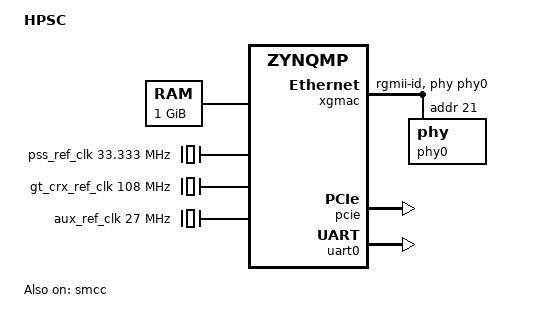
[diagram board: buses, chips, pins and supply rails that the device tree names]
/*
 * dts file for Xilinx ZynqMP ZCU102 RevA
 *
 * (C) Copyright 2015, Xilinx, Inc.
 *
 * Michal Simek <michal.simek@xilinx.com>
 *
 * SPDX-License-Identifier:	GPL-2.0+
 */

/dts-v1/;

#include <dt-bindings/phy/phy.h>

/ {
	model = "HPSC";
	compatible = "xlnx,zynqmp-zcu102-revA", "xlnx,zynqmp-zcu102", "xlnx,zynqmp";
	#address-cells = <2>;
	#size-cells = <2>;

	aliases {
		ethernet0 = &xgmac;
		serial0 = &uart0;
		serial1 = &dcc;
	};

	chosen {
		bootargs = "earlycon";
		stdout-path = "serial0:115200n8";
	};

	memory@0 {
		device_type = "memory";
		reg = 
		        /* NOTE: when changing this, remember to also change in Qemu DT */
			<0x00 0x80000000 0x00 0x40000000>; /* DDR Low 2G */
		     /* <0x01 0x00000000 0x00 0x80000000>; */ /* TODO: DDR High 2G */
	             /* <0x02 0x00000000 0x01 0x00000000>; */ /* TODO: DDR High 4G */
	             /* <0x08 0x00000000 0x08 0x00000000>; */ /* TODO: DDR High 32G */
	             /* <0x10 0x00000000 0x10 0x00000000>; */ /* TODO: DDR High 64G */
	};

	cpus {
		#address-cells = <1>;
		#size-cells = <0>;

		cpu0: cpu@0 {
			compatible = "arm,cortex-a53", "arm,armv8";
			device_type = "cpu";
			enable-method = "psci";
			operating-points-v2 = <&cpu_opp_table>;
			reg = <0x0>;
			cpu-idle-states = <&CPU_SLEEP_0>;
	                clocks = <&clkc 10>;
		};

		cpu1: cpu@1 {
			compatible = "arm,cortex-a53", "arm,armv8";
			device_type = "cpu";
			enable-method = "psci";
			reg = <0x1>;
			operating-points-v2 = <&cpu_opp_table>;
			cpu-idle-states = <&CPU_SLEEP_0>;
		};

		cpu2: cpu@2 {
			compatible = "arm,cortex-a53", "arm,armv8";
			device_type = "cpu";
			enable-method = "psci";
			reg = <0x2>;
			operating-points-v2 = <&cpu_opp_table>;
			cpu-idle-states = <&CPU_SLEEP_0>;
		};

		cpu3: cpu@3 {
			compatible = "arm,cortex-a53", "arm,armv8";
			device_type = "cpu";
			enable-method = "psci";
			reg = <0x3>;
			operating-points-v2 = <&cpu_opp_table>;
			cpu-idle-states = <&CPU_SLEEP_0>;
		};

		idle-states {
			entry-method = "arm,psci";

			CPU_SLEEP_0: cpu-sleep-0 {
				compatible = "arm,idle-state";
				arm,psci-suspend-param = <0x40000000>;
				local-timer-stop;
				entry-latency-us = <300>;
				exit-latency-us = <600>;
				min-residency-us = <10000>;
			};
		};
	};

	cpu_opp_table: cpu_opp_table {
		compatible = "operating-points-v2";
		opp-shared;
		opp00 {
			opp-hz = /bits/ 64 <1199999988>;
			opp-microvolt = <1000000>;
			clock-latency-ns = <500000>;
		};
		opp01 {
			opp-hz = /bits/ 64 <599999994>;
			opp-microvolt = <1000000>;
			clock-latency-ns = <500000>;
		};
		opp02 {
			opp-hz = /bits/ 64 <399999996>;
			opp-microvolt = <1000000>;
			clock-latency-ns = <500000>;
		};
		opp03 {
			opp-hz = /bits/ 64 <299999997>;
			opp-microvolt = <1000000>;
			clock-latency-ns = <500000>;
		};
	};

	dcc: dcc {
		compatible = "arm,dcc";
	        status = "okay";
		u-boot,dm-pre-reloc;
	};

	power-domains {
		compatible = "xlnx,zynqmp-genpd";

		pd_uart0: pd-uart0 {
			#power-domain-cells = <0x0>;
			pd-id = <0x21>;
		};

		pd_eth0: pd-eth0 {
			#power-domain-cells = <0x0>;
			pd-id = <0x1d>;
		};

		pd_nand: pd-nand {
			#power-domain-cells = <0x0>;
			pd-id = <0x2c>;
		};

		pd_pcie: pd-pcie {
			#power-domain-cells = <0x0>;
			pd-id = <0x3b>;
		};
	};

	pmu {
		compatible = "arm,armv8-pmuv3";
		interrupt-parent = <&gic>;
		interrupts = <0 143 4>,
			     <0 144 4>,
			     <0 145 4>,
			     <0 146 4>;
	};

	psci {
		compatible = "arm,psci-0.2";
		method = "smc";
	};

	pmufw: firmware {
		compatible = "xlnx,zynqmp-pm";
		method = "smc";
		interrupt-parent = <&gic>;
		interrupts = <0 35 4>;
	};

	timer {
		compatible = "arm,armv8-timer";
		interrupt-parent = <&gic>;
		interrupts = <1 13 0xf08>,
			     <1 14 0xf08>,
			     <1 11 0xf08>,
			     <1 10 0xf08>;
	};

	edac {
		compatible = "arm,cortex-a53-edac";
	};

	amba_apu: amba_apu@0 {
		compatible = "simple-bus";
		#address-cells = <2>;
		#size-cells = <1>;
		ranges = <0 0 0 0 0xffffffff>;

		gic: interrupt-controller@f9010000 {
			compatible = "arm,gic-400", "arm,cortex-a15-gic"; /* TODO: gic-500 */
			#interrupt-cells = <3>;
			reg = <0x0 0xf9010000 0x10000>,
			      <0x0 0xf9020000 0x20000>,
			      <0x0 0xf9040000 0x20000>,
			      <0x0 0xf9060000 0x20000>;
			interrupt-controller;
			interrupt-parent = <&gic>;
			interrupts = <1 9 0xf04>;
		};
	};

	amba: amba {
		compatible = "simple-bus";
		u-boot,dm-pre-reloc;
		#address-cells = <2>;
		#size-cells = <2>;
		ranges;

		xgmac: ethernet@0xe5300000 {
			compatible = "cdns,zynqmp-gem";
	                status = "okay";
			interrupt-parent = <&gic>;
			interrupts = <0 57 4>, <0 57 4>;
			reg = <0x0 0xe5300000 0x0 0x1000>;
                        clocks = <&clkc 45>, <&clkc 45>, <&clkc 49>;
                        clock-names = "pclk", "tx_clk", "hclk";
			#address-cells = <1>;
			#size-cells = <0>;
			#stream-id-cells = <1>;
			iommus = <&smmu 0x874>;
			power-domains = <&pd_eth0>;
                        phy-handle = <&phy0>;
                        phy-mode = "rgmii-id";
                        phy0: phy@21 {
                                reg = <21>;
                                ti,rx-internal-delay = <0x8>;
                                ti,tx-internal-delay = <0xa>;
                                ti,fifo-depth = <0x1>;
                                ti,rxctrl-strap-worka;
                        };
		};

		pcie: pcie@0xe5330000 {
			compatible = "xlnx,nwl-pcie-2.11";
			status = "okay";
			#address-cells = <3>;
			#size-cells = <2>;
			#interrupt-cells = <1>;
			msi-controller;
			device_type = "pci";
			interrupt-parent = <&gic>;
			interrupts = <0 118 4>,
				     <0 117 4>,
				     <0 116 4>,
				     <0 115 4>,	/* MSI_1 [63...32] */
				     <0 114 4>;	/* MSI_0 [31...0] */
			interrupt-names = "misc","dummy","intx", "msi1", "msi0";
			msi-parent = <&pcie>;
			reg = <0x0 0xe5330000 0x0 0x1000>,
			      <0x0 0xe56d0000 0x0 0x1000>,
			      <0x80 0x00000000 0x0 0x1000000>;
			reg-names = "breg", "pcireg", "cfg";
			ranges = <0x02000000 0x00000000 0xe0000000 0x00000000 0xe0000000 0x00000000 0x10000000	/* non-prefetchable memory */
				  0x43000000 0x00000006 0x00000000 0x00000006 0x00000000 0x00000002 0x00000000>;/* prefetchable memory */
			bus-range = <0x00 0xff>;
			interrupt-map-mask = <0x0 0x0 0x0 0x7>;
			interrupt-map = <0x0 0x0 0x0 0x1 &pcie_intc 0x1>,
					<0x0 0x0 0x0 0x2 &pcie_intc 0x2>,
					<0x0 0x0 0x0 0x3 &pcie_intc 0x3>,
					<0x0 0x0 0x0 0x4 &pcie_intc 0x4>;
			power-domains = <&pd_pcie>;
	                clocks = <&clkc 23>;
			pcie_intc: legacy-interrupt-controller {
				interrupt-controller;
				#address-cells = <0>;
				#interrupt-cells = <1>;
			};
		};

		smcc: memory-controller@f92d0000 {
			#address-cells = <1>;
			#size-cells = <1>;
			status = "okay";
			clock-names = "memclk", "aclk";
/*			clocks = <&clkc 11>, <&clkc 44>; */
			compatible = "arm,pl353-smc-r2p1";
			interrupt-parent = <&gic>;
			interrupts = <0 18 4>;

			arm,addr25 = <0x1>;
			arm,nor-chip-sel0 = <0x1>;
			arm,nor-chip-sel1 = <0x0>;
			arm,sram-chip-sel0 = <0x0>;
			arm,sram-chip-sel1 = <0x0>;

			ranges ;
			reg = <0xf92d0000 0x1000>;
			nand0: flash@e1000000 {
				status = "disabled";
				compatible = "arm,pl353-nand-r2p1";
				reg = <0xe1000000 0x1000000>;
				#address-cells = <0x1>;
				#size-cells = <0x1>;
				#stream-id-cells = <1>;
			};
			nor0: flash@e2000000 {
				status = "disabled";
				compatible = "cfi-flash";
				reg = <0xe2000000 0x2000000>;
				#address-cells = <1>;
				#size-cells = <1>;
			};
		};

		smmu: smmu@0xf92f2000 {
			compatible = "arm,mmu-500";
			reg = <0x0 0xf92f2000 0x0 0x20000>;
			#iommu-cells = <1>;
			status = "disabled";
			#global-interrupts = <1>;
			interrupt-parent = <&gic>;
			interrupts = <0 155 4>,
				<0 155 4>, <0 155 4>, <0 155 4>, <0 155 4>,
				<0 155 4>, <0 155 4>, <0 155 4>, <0 155 4>,
				<0 155 4>, <0 155 4>, <0 155 4>, <0 155 4>,
				<0 155 4>, <0 155 4>, <0 155 4>, <0 155 4>;
		};

		uart0: serial@f92c0000 {
			u-boot,dm-pre-reloc;
			compatible = "cdns,uart-r1p12", "xlnx,xuartps";
			status = "okay";
			interrupt-parent = <&gic>;
			interrupts = <0 23 4>;
			reg = <0x0 0xf92c0000 0x0 0x1000>;
	                clocks = <&clkc 56>,  <&clkc 31>;
			clock-names = "uart_clk", "pclk";
			power-domains = <&pd_uart0>;
		};
	};

	pss_ref_clk: pss_ref_clk {
		u-boot,dm-pre-reloc;
		compatible = "fixed-clock";
		#clock-cells = <0>;
		clock-frequency = <33333333>;
	};

	video_clk: video_clk {
		u-boot,dm-pre-reloc;
		compatible = "fixed-clock";
		#clock-cells = <0>;
		clock-frequency = <27000000>;
	};

	pss_alt_ref_clk: pss_alt_ref_clk {
		u-boot,dm-pre-reloc;
		compatible = "fixed-clock";
		#clock-cells = <0>;
		clock-frequency = <0>;
	};

	gt_crx_ref_clk: gt_crx_ref_clk {
		u-boot,dm-pre-reloc;
		compatible = "fixed-clock";
		#clock-cells = <0>;
		clock-frequency = <108000000>;
	};

	aux_ref_clk: aux_ref_clk {
		u-boot,dm-pre-reloc;
		compatible = "fixed-clock";
		#clock-cells = <0>;
		clock-frequency = <27000000>;
	};

	clkc: clkc {
		u-boot,dm-pre-reloc;
		#clock-cells = <1>;
		compatible = "xlnx,zynqmp-clkc";
		clocks = <&pss_ref_clk>, <&video_clk>, <&pss_alt_ref_clk>, <&aux_ref_clk>, <&gt_crx_ref_clk>;
		clock-names = "pss_ref_clk", "video_clk", "pss_alt_ref_clk", "aux_ref_clk", "gt_crx_ref_clk";
		clock-output-names = "iopll", "rpll", "apll", "dpll",
				"vpll", "iopll_to_fpd", "rpll_to_fpd",
				"apll_to_lpd", "dpll_to_lpd", "vpll_to_lpd",
				"acpu", "acpu_half", "dbf_fpd", "dbf_lpd",
				"dbg_trace", "dbg_tstmp", "dp_video_ref",
				"dp_audio_ref", "dp_stc_ref", "gdma_ref",
				"dpdma_ref", "ddr_ref", "sata_ref", "pcie_ref",
				"gpu_ref", "gpu_pp0_ref", "gpu_pp1_ref",
				"topsw_main", "topsw_lsbus", "gtgref0_ref",
				"lpd_switch", "lpd_lsbus", "usb0_bus_ref",
				"usb1_bus_ref", "usb3_dual_ref", "usb0",
				"usb1", "cpu_r5", "cpu_r5_core", "csu_spb",
				"csu_pll", "pcap", "iou_switch", "gem_tsu_ref",
				"gem_tsu", "gem0_ref", "gem1_ref", "gem2_ref",
				"gem3_ref", "gem0_tx", "gem1_tx", "gem2_tx",
				"gem3_tx", "qspi_ref", "sdio0_ref", "sdio1_ref",
				"uart0_ref", "uart1_ref", "spi0_ref",
				"spi1_ref", "nand_ref", "i2c0_ref", "i2c1_ref",
				"can0_ref", "can1_ref", "can0", "can1",
				"dll_ref", "adma_ref", "timestamp_ref",
				"ams_ref", "pl0", "pl1", "pl2", "pl3", "wdt";
	};
};
